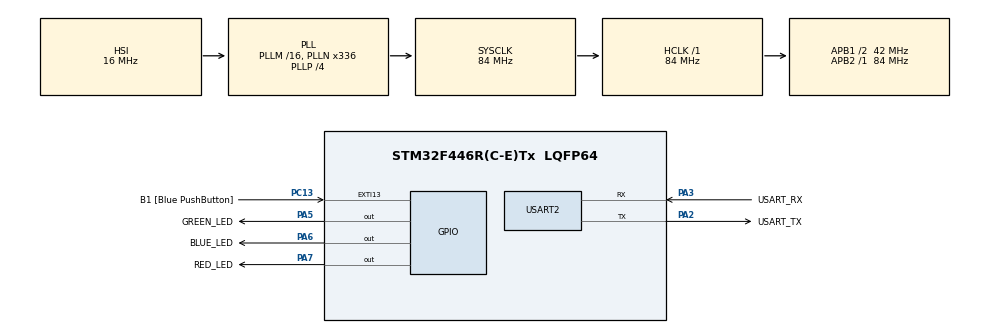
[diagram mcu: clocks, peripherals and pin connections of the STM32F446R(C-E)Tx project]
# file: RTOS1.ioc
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Mcu.Family=STM32F4
Mcu.Name=STM32F446R(C-E)Tx
Mcu.Package=LQFP64
NVIC.PriorityGroup=NVIC_PRIORITYGROUP_4
NVIC.TIM6_DAC_IRQn=true\:0\:0\:false\:false\:true\:false\:true\:true
NVIC.TimeBase=TIM6_DAC_IRQn
NVIC.TimeBaseIP=TIM6
PA13.GPIO_Label=TMS
PA13.Mode=Serial_Wire
PA13.Signal=SYS_JTMS-SWDIO
PA14.GPIO_Label=TCK
PA14.Mode=Serial_Wire
PA14.Signal=SYS_JTCK-SWCLK
PA2.GPIO_Label=USART_TX
PA2.Mode=Asynchronous
PA2.Signal=USART2_TX
PA3.GPIO_Label=USART_RX
PA3.Mode=Asynchronous
PA3.Signal=USART2_RX
PA5.GPIO_Label=GREEN_LED
PA5.Signal=GPIO_Output
PA6.GPIO_Label=BLUE_LED
PA6.Signal=GPIO_Output
PA7.GPIO_Label=RED_LED
PA7.Signal=GPIO_Output
PB3.GPIO_Label=SWO
PB3.Signal=SYS_JTDO-SWO
PC13.GPIO_Label=B1 [Blue PushButton]
PC13.GPIO_ModeDefaultEXTI=GPIO_MODE_IT_FALLING
PC13.Signal=GPXTI13
PC14-OSC32_IN.Mode=LSE-External-Oscillator
PC14-OSC32_IN.Signal=RCC_OSC32_IN
PC15-OSC32_OUT.Mode=LSE-External-Oscillator
PC15-OSC32_OUT.Signal=RCC_OSC32_OUT
PH0-OSC_IN.Mode=HSE-External-Oscillator
PH0-OSC_IN.Signal=RCC_OSC_IN
PH1-OSC_OUT.Mode=HSE-External-Oscillator
PH1-OSC_OUT.Signal=RCC_OSC_OUT
ProjectManager.HeapSize=0x200
ProjectManager.StackSize=0x400
ProjectManager.TargetToolchain=STM32CubeIDE
RCC.48MHZClocksFreq_Value=84000000
RCC.AHBFreq_Value=84000000
RCC.APB1CLKDivider=RCC_HCLK_DIV2
RCC.APB1Freq_Value=42000000
RCC.APB1TimFreq_Value=84000000
RCC.APB2Freq_Value=84000000
RCC.APB2TimFreq_Value=84000000
RCC.CortexFreq_Value=84000000
RCC.FLatency-AdvancedSettings=FLASH_LATENCY_2
RCC.HCLKFreq_Value=84000000
RCC.HSE_VALUE=8000000
RCC.HSI_VALUE=16000000
RCC.PLLN=336
RCC.PLLP=RCC_PLLP_DIV4
RCC.SYSCLKFreq_VALUE=84000000
RCC.SYSCLKSource=RCC_SYSCLKSOURCE_PLLCLK
RCC.USBFreq_Value=168000000
RCC.VCOOutputFreq_Value=336000000
USART2.VirtualMode=VM_ASYNC
VP_SYS_VS_tim6.Mode=TIM6
board=NUCLEO-F446RE

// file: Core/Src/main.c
/* USER CODE BEGIN Header */
/**
  ******************************************************************************
  * @file           : main.c
  * @brief          : Main program body
  ******************************************************************************
  * @attention
  *
  * Copyright (c) 2026 STMicroelectronics.
  * All rights reserved.
  *
  * This software is licensed under terms that can be found in the LICENSE file
  * in the root directory of this software component.
  * If no LICENSE file comes with this software, it is provided AS-IS.
  *
  ******************************************************************************
  */
/* USER CODE END Header */
#include "main.h"

/* USER CODE BEGIN Includes */
#include "FreeRTOS.h"
#include "task.h"
#include<stdio.h>

/* USER CODE END Includes */

UART_HandleTypeDef huart2;

void SystemClock_Config(void);
static void MX_GPIO_Init(void);
static void MX_USART2_UART_Init(void);
/* USER CODE BEGIN PFP */
static void LED_GREEN_handler (void * pvParameters);
static void LED_RED_handler (void * pvParameters);
static void LED_BLUE_handler (void * pvParameters);
/* USER CODE END PFP */

int main(void)
{

  /* USER CODE BEGIN 1 */
	TaskHandle_t task1_handle;
	TaskHandle_t task2_handle;
	TaskHandle_t task3_handle;
	BaseType_t xReturned;
  /* USER CODE END 1 */

  /* MCU Configuration--------------------------------------------------------*/

  /* Reset of all peripherals, Initializes the Flash interface and the Systick. */
  HAL_Init();

  /* Configure the system clock */
  SystemClock_Config();

  /* Initialize all configured peripherals */
  MX_GPIO_Init();
  MX_USART2_UART_Init();
  /* USER CODE BEGIN 2 */

  xReturned = xTaskCreate(
		  	  	  LED_GREEN_handler,       /* Function that implements the task. */
                  "Green led task",          /* Text name for the task. */
                  100,      /* Stack size in words, not bytes. */
                  NULL,    /* Parameter passed into the task. */
                   2,/* Priority at which the task is created. */
                  &task1_handle );      /* Used to pass out the created task's handle. */

  configASSERT(xReturned == pdPASS);

  xReturned = xTaskCreate(
		  	  	  LED_RED_handler,       /* Function that implements the task. */
                  "Red led task",          /* Text name for the task. */
                  100,      /* Stack size in words, not bytes. */
                  NULL,    /* Parameter passed into the task. */
                   2,/* Priority at which the task is created. */
                  &task2_handle );      /* Used to pass out the created task's handle. */

  configASSERT(xReturned == pdPASS);

  xReturned = xTaskCreate(
		  	  	  LED_BLUE_handler,       /* Function that implements the task. */
                  "Blue led task",          /* Text name for the task. */
                  100,      /* Stack size in words, not bytes. */
                  NULL,    /* Parameter passed into the task. */
                   2,/* Priority at which the task is created. */
                  &task3_handle );      /* Used to pass out the created task's handle. */

  configASSERT(xReturned == pdPASS);
     /* Used to pass out the created task's handle. */

   vTaskStartScheduler();

  /* USER CODE END 2 */

  /* Infinite loop */
  while (1)
  {

  }
}

void SystemClock_Config(void)
{
  RCC_OscInitTypeDef RCC_OscInitStruct = {0};
  RCC_ClkInitTypeDef RCC_ClkInitStruct = {0};

  /** Configure the main internal regulator output voltage
  */
  __HAL_RCC_PWR_CLK_ENABLE();
  __HAL_PWR_VOLTAGESCALING_CONFIG(PWR_REGULATOR_VOLTAGE_SCALE3);

  /** Initializes the RCC Oscillators according to the specified parameters
  * in the RCC_OscInitTypeDef structure.
  */
  RCC_OscInitStruct.OscillatorType = RCC_OSCILLATORTYPE_HSI;
  RCC_OscInitStruct.HSIState = RCC_HSI_ON;
  RCC_OscInitStruct.HSICalibrationValue = RCC_HSICALIBRATION_DEFAULT;
  RCC_OscInitStruct.PLL.PLLState = RCC_PLL_ON;
  RCC_OscInitStruct.PLL.PLLSource = RCC_PLLSOURCE_HSI;
  RCC_OscInitStruct.PLL.PLLM = 16;
  RCC_OscInitStruct.PLL.PLLN = 336;
  RCC_OscInitStruct.PLL.PLLP = RCC_PLLP_DIV4;
  RCC_OscInitStruct.PLL.PLLQ = 2;
  RCC_OscInitStruct.PLL.PLLR = 2;
  if (HAL_RCC_OscConfig(&RCC_OscInitStruct) != HAL_OK)
  {
    Error_Handler();
  }

  /** Initializes the CPU, AHB and APB buses clocks
  */
  RCC_ClkInitStruct.ClockType = RCC_CLOCKTYPE_HCLK|RCC_CLOCKTYPE_SYSCLK
                              |RCC_CLOCKTYPE_PCLK1|RCC_CLOCKTYPE_PCLK2;
  RCC_ClkInitStruct.SYSCLKSource = RCC_SYSCLKSOURCE_PLLCLK;
  RCC_ClkInitStruct.AHBCLKDivider = RCC_SYSCLK_DIV1;
  RCC_ClkInitStruct.APB1CLKDivider = RCC_HCLK_DIV2;
  RCC_ClkInitStruct.APB2CLKDivider = RCC_HCLK_DIV1;

  if (HAL_RCC_ClockConfig(&RCC_ClkInitStruct, FLASH_LATENCY_2) != HAL_OK)
  {
    Error_Handler();
  }
}

static void MX_USART2_UART_Init(void)
{

  huart2.Instance = USART2;
  huart2.Init.BaudRate = 115200;
  huart2.Init.WordLength = UART_WORDLENGTH_8B;
  huart2.Init.StopBits = UART_STOPBITS_1;
  huart2.Init.Parity = UART_PARITY_NONE;
  huart2.Init.Mode = UART_MODE_TX_RX;
  huart2.Init.HwFlowCtl = UART_HWCONTROL_NONE;
  huart2.Init.OverSampling = UART_OVERSAMPLING_16;
  if (HAL_UART_Init(&huart2) != HAL_OK)
  {
    Error_Handler();
  }

}

static void MX_GPIO_Init(void)
{
  GPIO_InitTypeDef GPIO_InitStruct = {0};

  /* GPIO Ports Clock Enable */
  __HAL_RCC_GPIOC_CLK_ENABLE();
  __HAL_RCC_GPIOH_CLK_ENABLE();
  __HAL_RCC_GPIOA_CLK_ENABLE();
  __HAL_RCC_GPIOB_CLK_ENABLE();

  /*Configure GPIO pin Output Level */
  HAL_GPIO_WritePin(GPIOA, GREEN_LED_Pin|BLUE_LED_Pin|RED_LED_Pin, GPIO_PIN_RESET);

  /*Configure GPIO pin : B1_Pin */
  GPIO_InitStruct.Pin = B1_Pin;
  GPIO_InitStruct.Mode = GPIO_MODE_IT_FALLING;
  GPIO_InitStruct.Pull = GPIO_NOPULL;
  HAL_GPIO_Init(B1_GPIO_Port, &GPIO_InitStruct);

  /*Configure GPIO pins : GREEN_LED_Pin BLUE_LED_Pin RED_LED_Pin */
  GPIO_InitStruct.Pin = GREEN_LED_Pin|BLUE_LED_Pin|RED_LED_Pin;
  GPIO_InitStruct.Mode = GPIO_MODE_OUTPUT_PP;
  GPIO_InitStruct.Pull = GPIO_NOPULL;
  GPIO_InitStruct.Speed = GPIO_SPEED_FREQ_LOW;
  HAL_GPIO_Init(GPIOA, &GPIO_InitStruct);

}

/* USER CODE BEGIN 4 */
static void LED_GREEN_handler(void* parameters)
{
	while(1)
	{
		printf("task1\n");
		HAL_GPIO_TogglePin(GREEN_LED_GPIO_Port,GREEN_LED_Pin);
		HAL_Delay(1000);
		taskYIELD();
	}

}

static void LED_RED_handler(void* parameters)
{
	while(1)
	{
		printf("task2\n");
		HAL_GPIO_TogglePin(RED_LED_GPIO_Port,RED_LED_Pin);
		HAL_Delay(800);
		taskYIELD();
	}

}

static void LED_BLUE_handler(void* parameters)
{
	while(1)
	{
		printf("task3\n");
		HAL_GPIO_TogglePin(BLUE_LED_GPIO_Port,BLUE_LED_Pin);
		HAL_Delay(500);
		taskYIELD();
	}

}

/* USER CODE END 4 */

void HAL_TIM_PeriodElapsedCallback(TIM_HandleTypeDef *htim)
{
  if (htim->Instance == TIM6)
  {
    HAL_IncTick();
  }
}

void Error_Handler(void)
{
  __disable_irq();
  while (1)
  {
  }
}
